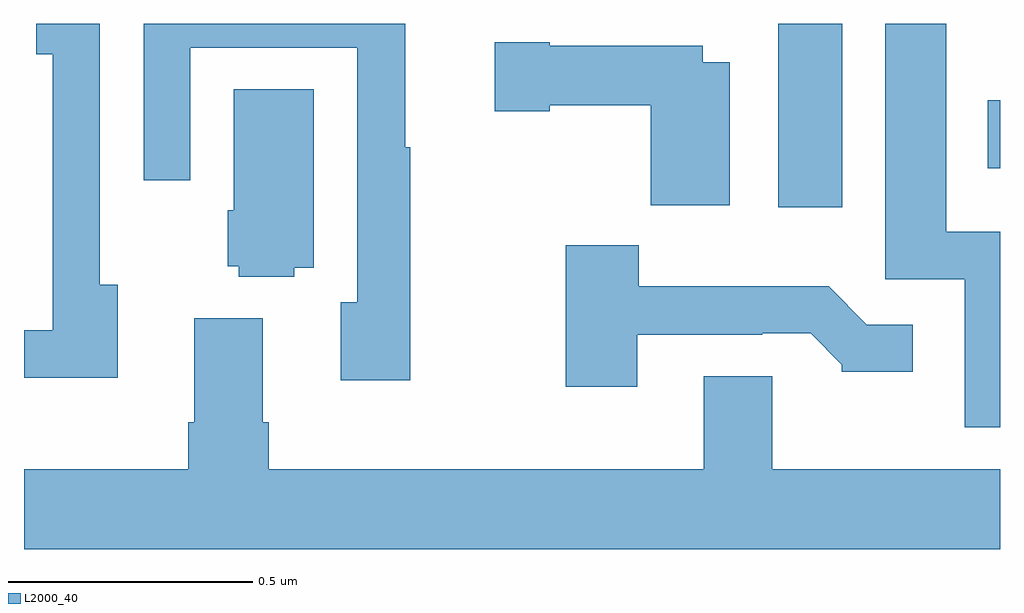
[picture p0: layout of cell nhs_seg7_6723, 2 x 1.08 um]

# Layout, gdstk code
import gdstk
lib = gdstk.Library(unit=1e-6, precision=1e-09)
def R(c, l, rs):  # rectangles x0, y0, x1, y1
    for r in rs: c.add(gdstk.rectangle(r[:2], r[2:], *l))
def P(c, l, *ps):  # polygons
    for p in ps: c.add(gdstk.Polygon(p, *l))
L2000_40 = (2000, 40)

nhs_seg7_6723 = lib.new_cell('nhs_seg7_6723')
R(nhs_seg7_6723, L2000_40, [(203.546,1026.624,203.677,1027), (203.975,1026.704,204,1026.844)])
P(nhs_seg7_6723, L2000_40, [(202.792,1026.747),(202.781,1026.747),(202.781,1027),(202.245,1027),(202.245,1026.68),(202.341,1026.68),(202.341,1026.951),(202.683,1026.951),(202.683,1026.43),(202.649,1026.43),(202.649,1026.27),(202.792,1026.27)],
  [(204,1026.574),(203.89,1026.574),(203.89,1027),(203.765,1027),(203.765,1026.477),(203.928,1026.477),(203.928,1026.174),(204,1026.174)],
  [(202.192,1026.466),(202.155,1026.466),(202.155,1027),(202.025,1027),(202.025,1026.938),(202.059,1026.938),(202.059,1026.372),(202,1026.372),(202,1026.275),(202.192,1026.275)],
  [(203.446,1026.922),(203.391,1026.922),(203.391,1026.955),(203.077,1026.955),(203.077,1026.963),(202.965,1026.963),(202.965,1026.821),(203.077,1026.821),(203.077,1026.833),(203.284,1026.833),(203.284,1026.629),(203.446,1026.629)],
  [(202.554,1026.5),(202.594,1026.5),(202.594,1026.866),(202.43,1026.866),(202.43,1026.618),(202.418,1026.618),(202.418,1026.504),(202.44,1026.504),(202.44,1026.482),(202.554,1026.482)],
  [(203.257,1026.363),(203.513,1026.363),(203.513,1026.366),(203.612,1026.366),(203.676,1026.302),(203.676,1026.287),(203.821,1026.287),(203.821,1026.384),(203.727,1026.384),(203.649,1026.463),(203.26,1026.463),(203.26,1026.547),(203.11,1026.547),(203.11,1026.257),(203.257,1026.257)],
  [(204,1026.088),(203.533,1026.088),(203.533,1026.278),(203.393,1026.278),(203.393,1026.088),(202.502,1026.088),(202.502,1026.184),(202.489,1026.184),(202.489,1026.397),(202.349,1026.397),(202.349,1026.184),(202.337,1026.184),(202.337,1026.088),(202,1026.088),(202,1025.924),(204,1025.924)])

lib.write_gds('nhs_seg7_6723.gds')
